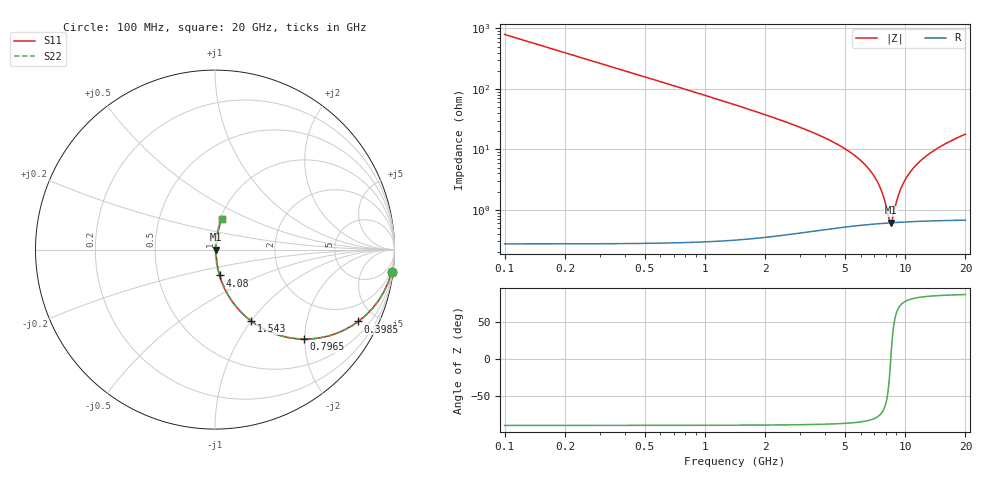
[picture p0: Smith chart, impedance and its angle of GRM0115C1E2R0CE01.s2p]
!Murata Part Number: GRM0115C1E2R0CE01
!These Parameters are Measured in Series Mode Connection
!Data Generated on Mar 30, 2021
!  o--ll--o
!Port1  Port2
!  o------o
!Operation Temp=25[degC], DC Bias Voltage=0[V]
!Freq. Start=100[MHz] Stop=20[GHz] 401[Steps]
# Hz S RI R 50
!Freq.(Hz) S11(Real) S11(Imag) S21(Real) S21(Imag) S12(Real) S12(Imag) S22(Real) S22(Imag)
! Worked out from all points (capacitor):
!   401 points, 100 MHz to 20 GHz, reference 50 ohm
!   read as one part in series: C = 2 pF near 199.5 MHz
!   lowest |Z| = 611 mohm at 8.458 GHz (marker M1)
!   series resonance near 8.477 GHz, so ESL is about 180 pH
!   S11 on the Smith chart (normalised r, x): 100 MHz: 1, -16; 398.5 MHz: 1.01, -3.98; 796.5 MHz: 1.01, -1.98; 1.543 GHz: 1.01, -1.00; 4.08 GHz: 1.01, -0.30; 20 GHz: 1.01, +0.36
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1e8  0.9844 -0.1237  0.0156 0.1237  0.0156 0.1237  0.9844 -0.1237
2.99e8  0.8757 -0.3294  0.1243 0.3294  0.1243 0.3294  0.8757 -0.3294
3.985e8  0.7984 -0.4005  0.2016 0.4005  0.2016 0.4005  0.7984 -0.4005
5.975e8  0.6367 -0.4799  0.3633 0.4799  0.3633 0.4799  0.6367 -0.4799
7.965e8  0.4948 -0.4985  0.5052 0.4985  0.5052 0.4985  0.4948 -0.4985
1.14475e9  0.318 -0.4635  0.682 0.4635  0.682 0.4635  0.318 -0.4635
1.54275e9  0.2001 -0.3968  0.7999 0.3968  0.7999 0.3968  0.2001 -0.3968
2.289e9  0.0961 -0.2891  0.9039 0.2891  0.9039 0.2891  0.0961 -0.2891
3.43325e9  0.0396 -0.184  0.9604 0.184  0.9604 0.184  0.0396 -0.184
4.08e9  0.026 -0.144  0.974 0.144  0.974 0.144  0.026 -0.144
5.72175e9  0.0109 -0.0736  0.9891 0.0736  0.9891 0.0736  0.0109 -0.0736
6.7665e9  0.00747 -0.0416  0.9925 0.0416  0.9925 0.0416  0.00747 -0.0416
7.61225e9  0.00631 -0.0197  0.9937 0.0197  0.9937 0.0197  0.00631 -0.0197
8.30875e9  0.00605 -0.00367  0.9939 0.00367  0.9939 0.00367  0.00605 -0.00367
8.458e9  0.00606 -0.000417  0.9939 0.000417  0.9939 0.000417  0.00606 -0.000417
8.60725e9  0.00609 0.00278  0.9939 -0.00278  0.9939 -0.00278  0.00609 0.00278
9.30375e9  0.00647 0.017  0.9935 -0.017  0.9935 -0.017  0.00647 0.017
1.005e10  0.00725 0.0312  0.9928 -0.0312  0.9928 -0.0312  0.00725 0.0312
1.139325e10  0.00939 0.0546  0.9906 -0.0546  0.9906 -0.0546  0.00939 0.0546
1.338325e10  0.0139 0.0855  0.9861 -0.0855  0.9861 -0.0855  0.0139 0.0855
1.67165e10  0.0242 0.131  0.9758 -0.131  0.9758 -0.131  0.0242 0.131
2e10  0.037 0.1708  0.963 -0.1708  0.963 -0.1708  0.037 0.1708
